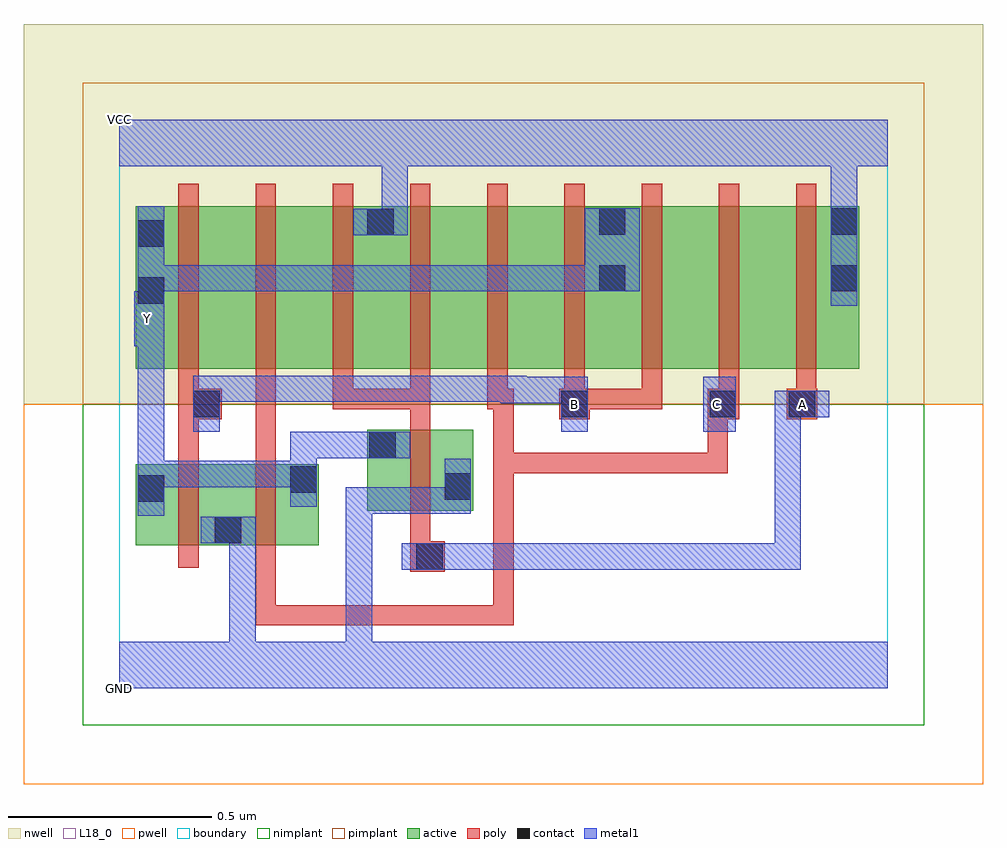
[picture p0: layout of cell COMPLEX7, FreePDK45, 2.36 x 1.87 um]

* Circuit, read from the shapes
.subckt COMPLEX7 A B C GND VCC Y
M1 GND B Y VSUBS nfet w=0.2u l=0.05u
M2 Y C GND VSUBS nfet w=0.2u l=0.05u
M3 GND A Y VSUBS nfet w=0.2u l=0.05u
M4 n1 B Y n2 pfet w=0.4u l=0.05u
M5 n3 C n1 n2 pfet w=0.4u l=0.05u
M6 VCC A n3 n2 pfet w=0.4u l=0.05u
M7 n4 A VCC n2 pfet w=0.4u l=0.05u
M8 n5 C n4 n2 pfet w=0.4u l=0.05u
M9 Y B n5 n2 pfet w=0.4u l=0.05u
M10 n6 B Y n2 pfet w=0.4u l=0.05u
M11 n7 C n6 n2 pfet w=0.4u l=0.05u
M12 VCC A n7 n2 pfet w=0.4u l=0.05u
.ends

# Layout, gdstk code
import gdstk
lib = gdstk.Library(unit=1e-6, precision=1e-09)
def R(c, l, rs):  # rectangles x0, y0, x1, y1
    for r in rs: c.add(gdstk.rectangle(r[:2], r[2:], *l))
def A(c, l, x, y, w, h, nx, ny, dx, dy):  # array of equal rectangles
    R(c, l, [(x+i*dx, y+j*dy, x+i*dx+w, y+j*dy+h) for i in range(nx) for j in range(ny)])
active = (1, 0)
pwell = (2, 0)
nwell = (3, 0)
nimplant = (4, 0)
pimplant = (5, 0)
poly = (9, 0)
contact = (10, 0)
metal1 = (11, 0)
L18_0 = (18, 0)
boundary = (235, 0)

complex7 = lib.new_cell('COMPLEX7')
A(complex7, active, 0.265, 0.787, 0.19, 0.4, 3, 1, 0.57, 0)
A(complex7, active, 0.455, 0.787, 0.225, 0.4, 3, 1, 0.57, 0)
R(complex7, active, [(0.04,0.352,0.305,0.552), (0.23,0.352,0.49,0.552), (0.23,0.352,0.305,0.427), (0.61,0.437,0.87,0.637), (0.795,0.437,0.87,0.637), (0.04,0.445,0.115,0.552), (0.415,0.445,0.49,0.552), (0.61,0.445,0.685,0.637), (0.04,0.787,0.115,1.187), (0.04,0.787,0.265,1.187), (0.605,0.787,0.835,1.187), (1.175,0.787,1.25,1.187), (1.175,0.787,1.405,1.187), (1.745,0.787,1.82,1.187), (0.605,0.85,0.68,1.187)])
R(complex7, pwell, [(-0.235,-0.235,2.125,0.7)])
R(complex7, nwell, [(-0.235,0.7,2.125,1.635)])
R(complex7, nimplant, [(-0.09,-0.09,1.98,0.7)])
R(complex7, pimplant, [(-0.09,0.7,1.98,1.49)])
A(complex7, poly, 0.525, 0.687, 0.05, 0.095, 7, 1, 0.19, 0)
A(complex7, poly, 0.145, 0.732, 0.05, 0.51, 9, 1, 0.19, 0)
R(complex7, poly, [(0.335,0.155,0.385,0.205), (0.335,0.155,0.385,0.205), (0.335,0.155,0.385,0.205), (0.335,0.155,0.385,0.205), (0.335,0.155,0.385,0.205), (0.335,0.155,0.517,0.205), (0.335,0.155,0.385,0.347), (0.467,0.155,0.517,0.205), (0.467,0.155,0.707,0.205), (0.657,0.155,0.707,0.205), (0.657,0.155,0.707,0.205), (0.657,0.155,0.707,0.205), (0.657,0.155,0.97,0.205), (0.92,0.155,0.97,0.205), (0.92,0.155,0.97,0.205), (0.92,0.155,0.97,0.205), (0.92,0.155,0.97,0.205), (0.92,0.155,0.97,0.205), (0.92,0.155,0.97,0.58), (0.715,0.287,0.8,0.362), (0.145,0.297,0.195,0.607), (0.335,0.297,0.385,0.607), (0.715,0.312,0.765,0.432), (0.715,0.382,0.765,0.692), (0.92,0.53,0.97,0.58), (0.92,0.53,1.202,0.58), (0.92,0.53,0.97,0.737), (1.152,0.53,1.202,0.58), (1.152,0.53,1.202,0.58), (1.152,0.53,1.202,0.58), (1.152,0.53,1.365,0.58), (1.315,0.53,1.365,0.58), (1.315,0.53,1.365,0.58), (1.315,0.53,1.365,0.58), (1.315,0.53,1.497,0.58), (1.447,0.53,1.497,0.58), (1.447,0.53,1.497,0.58), (1.447,0.53,1.497,0.58), (1.447,0.53,1.497,0.712), (0.145,0.557,0.195,0.712), (0.335,0.557,0.385,0.652), (0.335,0.602,0.385,0.652), (0.335,0.602,0.385,0.782), (0.715,0.642,0.765,0.737), (0.145,0.662,0.252,0.737), (1.082,0.662,1.157,0.737), (1.447,0.662,1.497,0.712), (1.447,0.662,1.497,0.712), (1.447,0.662,1.525,0.737), (1.642,0.662,1.717,0.737), (0.145,0.687,0.195,0.782), (0.525,0.687,0.575,0.737), (0.525,0.687,0.765,0.737), (0.715,0.687,0.765,0.737), (0.715,0.687,0.765,0.737), (0.715,0.687,0.765,0.737), (0.905,0.687,0.96,0.737), (0.91,0.687,0.96,0.737), (0.91,0.687,0.97,0.737), (1.107,0.687,1.335,0.737), (1.285,0.687,1.335,0.737), (1.285,0.687,1.335,0.737), (1.285,0.687,1.335,0.737)])
R(complex7, contact, [(0.73,0.292,0.795,0.357), (0.235,0.357,0.3,0.422), (0.045,0.46,0.11,0.525), (0.8,0.465,0.865,0.53), (0.42,0.482,0.485,0.547), (0.615,0.567,0.68,0.632), (0.182,0.667,0.247,0.732), (1.087,0.667,1.152,0.732), (1.452,0.667,1.517,0.732), (1.647,0.667,1.712,0.732), (0.045,0.947,0.11,1.012), (1.18,0.977,1.245,1.042), (1.75,0.977,1.815,1.042), (0.045,1.087,0.11,1.152), (0.61,1.115,0.675,1.18), (1.18,1.117,1.245,1.182), (1.75,1.117,1.815,1.182)])
R(complex7, metal1, [(0,0,1.89,0.115), (0.27,0.05,0.335,0.115), (0.27,0.05,0.335,0.115), (0.27,0.05,0.335,0.422), (0.557,0.05,0.622,0.115), (0.557,0.05,0.622,0.115), (0.557,0.05,0.622,0.495), (0.695,0.292,0.83,0.357), (0.765,0.292,0.83,0.357), (0.765,0.292,0.83,0.357), (0.765,0.292,1.002,0.357), (0.937,0.292,1.002,0.357), (0.937,0.292,1.002,0.357), (0.937,0.292,1.002,0.357), (0.937,0.292,1.002,0.357), (0.937,0.292,1.002,0.357), (0.937,0.292,1.002,0.357), (0.937,0.292,1.002,0.357), (0.937,0.292,1.14,0.357), (1.075,0.292,1.14,0.357), (1.075,0.292,1.14,0.357), (1.075,0.292,1.14,0.357), (1.075,0.292,1.347,0.357), (1.282,0.292,1.347,0.357), (1.282,0.292,1.485,0.357), (1.42,0.292,1.485,0.357), (1.42,0.292,1.485,0.357), (1.42,0.292,1.485,0.357), (1.42,0.292,1.677,0.357), (1.612,0.292,1.677,0.357), (1.612,0.292,1.677,0.732), (0.2,0.357,0.335,0.422), (0.27,0.357,0.335,0.422), (0.27,0.357,0.335,0.422), (0.27,0.357,0.335,0.422), (0.27,0.357,0.335,0.422), (0.045,0.425,0.11,0.56), (0.557,0.43,0.622,0.495), (0.557,0.43,0.622,0.495), (0.557,0.43,0.622,0.495), (0.557,0.43,0.622,0.495), (0.557,0.43,0.622,0.495), (0.557,0.43,0.865,0.495), (0.8,0.43,0.865,0.495), (0.8,0.43,0.865,0.495), (0.8,0.43,0.865,0.565), (0.42,0.447,0.485,0.632), (0.045,0.495,0.247,0.56), (0.045,0.495,0.11,0.907), (0.182,0.495,0.247,0.56), (0.182,0.495,0.247,0.56), (0.182,0.495,0.247,0.56), (0.182,0.495,0.485,0.56), (0.42,0.495,0.485,0.56), (0.42,0.495,0.485,0.56), (0.42,0.567,0.622,0.632), (0.557,0.567,0.622,0.632), (0.557,0.567,0.645,0.632), (0.58,0.567,0.715,0.632), (0.182,0.632,0.247,0.767), (1.087,0.632,1.152,0.767), (1.437,0.632,1.517,0.767), (1.612,0.667,1.677,0.732), (1.612,0.667,1.677,0.732), (1.612,0.667,1.747,0.732), (0.182,0.702,0.247,0.767), (0.182,0.702,0.247,0.77), (0.937,0.702,1.002,0.767), (0.937,0.702,1.002,0.767), (0.937,0.702,1.152,0.767), (0.937,0.702,1.002,0.77), (0.182,0.705,0.485,0.77), (0.42,0.705,0.485,0.77), (0.42,0.705,0.485,0.77), (0.42,0.705,0.485,0.77), (0.42,0.705,0.622,0.77), (0.557,0.705,0.622,0.77), (0.557,0.705,0.622,0.77), (0.557,0.705,0.622,0.77), (0.557,0.705,0.795,0.77), (0.73,0.705,0.795,0.77), (0.73,0.705,0.795,0.77), (0.73,0.705,0.795,0.77), (0.73,0.705,1.002,0.77), (0.037,0.842,0.11,0.977), (0.045,0.912,0.11,1.187), (0.045,0.912,0.11,0.977), (1.75,0.942,1.815,1.217), (0.045,0.977,0.11,1.042), (0.045,0.977,0.11,1.042), (0.045,0.977,0.247,1.042), (0.182,0.977,0.247,1.042), (0.182,0.977,0.472,1.042), (0.407,0.977,0.472,1.042), (0.407,0.977,0.472,1.042), (0.407,0.977,0.472,1.042), (0.407,0.977,0.622,1.042), (0.557,0.977,0.622,1.042), (0.557,0.977,0.622,1.042), (0.557,0.977,0.622,1.042), (0.557,0.977,0.76,1.042), (0.695,0.977,0.76,1.042), (0.695,0.977,0.76,1.042), (0.695,0.977,0.76,1.042), (0.695,0.977,1.002,1.042), (0.937,0.977,1.002,1.042), (0.937,0.977,1.002,1.042), (0.937,0.977,1.002,1.042), (0.937,0.977,1.21,1.042), (1.145,0.977,1.21,1.042), (1.145,0.977,1.21,1.042), (1.145,0.977,1.28,1.182), (0.575,1.115,0.71,1.18), (0.645,1.115,0.71,1.35), (1.75,1.152,1.815,1.35), (0,1.285,1.89,1.4)])
R(complex7, L18_0, [(0,0,1.89,0.115), (0.27,0.05,0.335,0.115), (0.27,0.05,0.335,0.115), (0.27,0.05,0.335,0.422), (0.557,0.05,0.622,0.115), (0.557,0.05,0.622,0.115), (0.557,0.05,0.622,0.495), (0.695,0.292,0.83,0.357), (0.765,0.292,0.83,0.357), (0.765,0.292,0.83,0.357), (0.765,0.292,1.002,0.357), (0.937,0.292,1.002,0.357), (0.937,0.292,1.002,0.357), (0.937,0.292,1.002,0.357), (0.937,0.292,1.002,0.357), (0.937,0.292,1.002,0.357), (0.937,0.292,1.002,0.357), (0.937,0.292,1.002,0.357), (0.937,0.292,1.14,0.357), (1.075,0.292,1.14,0.357), (1.075,0.292,1.14,0.357), (1.075,0.292,1.14,0.357), (1.075,0.292,1.347,0.357), (1.282,0.292,1.347,0.357), (1.282,0.292,1.485,0.357), (1.42,0.292,1.485,0.357), (1.42,0.292,1.485,0.357), (1.42,0.292,1.485,0.357), (1.42,0.292,1.677,0.357), (1.612,0.292,1.677,0.357), (1.612,0.292,1.677,0.732), (0.2,0.357,0.335,0.422), (0.27,0.357,0.335,0.422), (0.27,0.357,0.335,0.422), (0.27,0.357,0.335,0.422), (0.27,0.357,0.335,0.422), (0.045,0.425,0.11,0.56), (0.557,0.43,0.622,0.495), (0.557,0.43,0.622,0.495), (0.557,0.43,0.622,0.495), (0.557,0.43,0.622,0.495), (0.557,0.43,0.622,0.495), (0.557,0.43,0.865,0.495), (0.8,0.43,0.865,0.565), (0.8,0.43,0.865,0.495), (0.8,0.43,0.865,0.495), (0.42,0.447,0.485,0.632), (0.045,0.495,0.11,0.907), (0.045,0.495,0.247,0.56), (0.182,0.495,0.247,0.56), (0.182,0.495,0.247,0.56), (0.182,0.495,0.247,0.56), (0.182,0.495,0.485,0.56), (0.42,0.495,0.485,0.56), (0.42,0.495,0.485,0.56), (0.42,0.567,0.622,0.632), (0.557,0.567,0.622,0.632), (0.557,0.567,0.645,0.632), (0.58,0.567,0.715,0.632), (0.182,0.632,0.247,0.767), (1.087,0.632,1.152,0.767), (1.437,0.632,1.517,0.767), (1.087,0.667,1.152,0.732), (1.437,0.667,1.502,0.732), (1.612,0.667,1.677,0.732), (1.612,0.667,1.677,0.732), (1.612,0.667,1.747,0.732), (1.647,0.667,1.712,0.732), (0.182,0.702,0.247,0.767), (0.182,0.702,0.247,0.77), (0.937,0.702,1.002,0.767), (0.937,0.702,1.002,0.767), (0.937,0.702,1.002,0.77), (0.937,0.702,1.152,0.767), (0.182,0.705,0.485,0.77), (0.42,0.705,0.485,0.77), (0.42,0.705,0.485,0.77), (0.42,0.705,0.485,0.77), (0.42,0.705,0.622,0.77), (0.557,0.705,0.622,0.77), (0.557,0.705,0.622,0.77), (0.557,0.705,0.622,0.77), (0.557,0.705,0.795,0.77), (0.73,0.705,0.795,0.77), (0.73,0.705,0.795,0.77), (0.73,0.705,0.795,0.77), (0.73,0.705,1.002,0.77), (0.037,0.842,0.11,0.977), (0.037,0.877,0.102,0.942), (0.045,0.912,0.11,1.187), (0.045,0.912,0.11,0.977), (1.75,0.942,1.815,1.217), (0.045,0.977,0.11,1.042), (0.045,0.977,0.11,1.042), (0.045,0.977,0.247,1.042), (0.182,0.977,0.247,1.042), (0.182,0.977,0.472,1.042), (0.407,0.977,0.472,1.042), (0.407,0.977,0.472,1.042), (0.407,0.977,0.472,1.042), (0.407,0.977,0.622,1.042), (0.557,0.977,0.622,1.042), (0.557,0.977,0.622,1.042), (0.557,0.977,0.622,1.042), (0.557,0.977,0.76,1.042), (0.695,0.977,0.76,1.042), (0.695,0.977,0.76,1.042), (0.695,0.977,0.76,1.042), (0.695,0.977,1.002,1.042), (0.937,0.977,1.002,1.042), (0.937,0.977,1.002,1.042), (0.937,0.977,1.002,1.042), (0.937,0.977,1.21,1.042), (1.145,0.977,1.21,1.042), (1.145,0.977,1.21,1.042), (1.145,0.977,1.28,1.182), (0.575,1.115,0.71,1.18), (0.645,1.115,0.71,1.35), (1.75,1.152,1.815,1.35), (0,1.285,1.89,1.4)])
R(complex7, boundary, [(0,0,1.89,1.4)])
complex7.add(gdstk.Label('A', (1.68,0.7), layer=11, texttype=0))
complex7.add(gdstk.Label('B', (1.12,0.7), layer=11, texttype=0))
complex7.add(gdstk.Label('C', (1.47,0.7), layer=11, texttype=0))
complex7.add(gdstk.Label('Y', (0.07,0.91), layer=11, texttype=0))
complex7.add(gdstk.Label('VCC', (0,1.4), layer=11, texttype=0))
complex7.add(gdstk.Label('GND', (0,0), layer=11, texttype=0))

lib.write_gds('COMPLEX7.gds')
